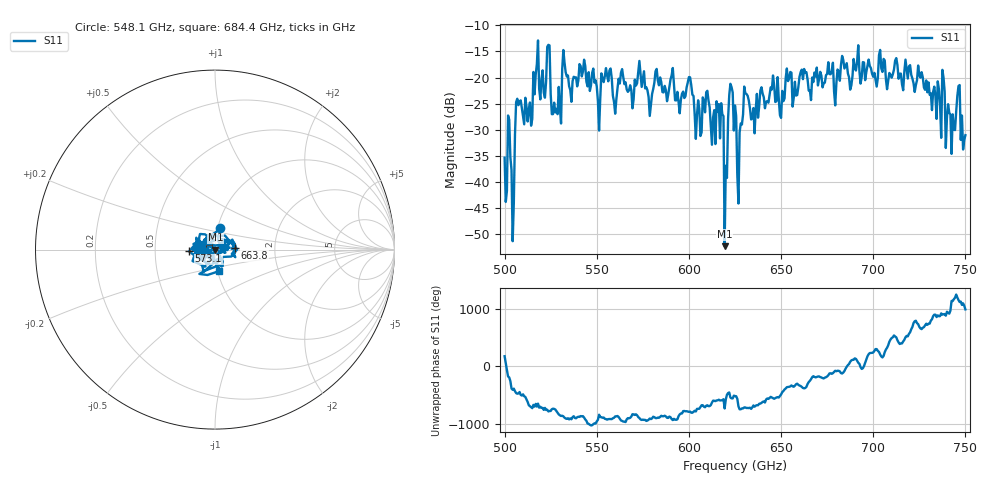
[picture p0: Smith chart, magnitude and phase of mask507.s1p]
!Created with skrf (http://scikit-rf.org).
# GHz S MA R 50.0
!freq magS11 angS11
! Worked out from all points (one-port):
!   401 points, 500 GHz to 750 GHz, reference 50 ohm
!   lowest |S11| = -52.3 dB at 619.4 GHz (marker M1), VSWR 1.00, Z = 50.2 - j0.0437 ohm
!   |S11| at or under -10 dB: start of sweep to end of sweep
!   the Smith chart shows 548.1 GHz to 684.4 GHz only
!   S11 on the Smith chart (normalised r, x): 548.1 GHz: 1.02, +0.25; 573.1 GHz: 0.75, -0.02; 663.8 GHz: 1.25, +0.03; 684.4 GHz: 1.02, -0.25
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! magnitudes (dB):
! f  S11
! 500 GHz  -35.3
! 502.5 GHz  -28.1
! 504.4 GHz  -51.3
! 507.5 GHz  -25.3
! 513.8 GHz  -24.8
! 516.9 GHz  -19.4
! 523.8 GHz  -13.7
! 526.9 GHz  -24.8
! 531.2 GHz  -18.3
! 548.1 GHz  -18.3
! 562.5 GHz  -21.1
! 573.1 GHz  -16.8
! 593.8 GHz  -22.7
! 616.2 GHz  -25.1
! 619.4 GHz  -52.3
! 622.5 GHz  -21.2
! 625 GHz  -25.3
! 627.5 GHz  -30.5
! 631.2 GHz  -23.1
! 635 GHz  -25.8
! 656.2 GHz  -25.6
! 663.8 GHz  -19.0
! 684.4 GHz  -18.3
! 687.5 GHz  -22.3
! 718.8 GHz  -20.2
! 743.1 GHz  -27.0
! 746.9 GHz  -21.4
! 750 GHz  -31.0
